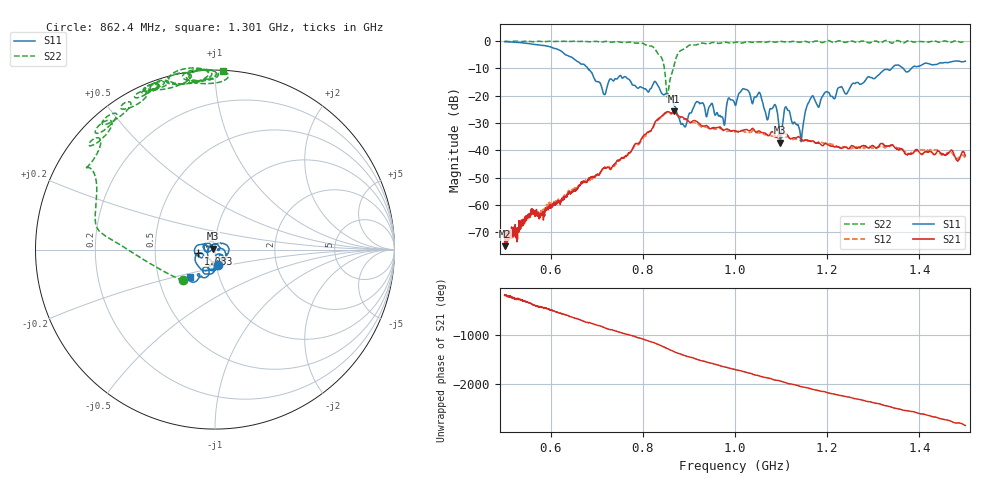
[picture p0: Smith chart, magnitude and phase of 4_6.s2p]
!Agilent Technologies,E8364B,US42250235,A.06.04.32
!Agilent E8364B: A.06.04.32
!Date: Thursday, October 01, 2020 16:09:05
!Correction: S11(Full 2 Port(1,2)) S21(Full 2 Port(1,2)) S12(Full 2 Port(1,2)) S22(Full 2 Port(1,2))
!S2P File: Measurements: S11, S21, S12, S22:
# Hz S  dB  R 50
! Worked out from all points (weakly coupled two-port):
!   2650 points, 500 MHz to 1.5 GHz, reference 50 ohm
!   highest |S21| = -25.78 dB at 866.6 MHz (marker M1); lowest = -75.1 dB at 500.8 MHz (marker M2)
!   lowest |S11| = -37.2 dB at 1.098 GHz (marker M3), VSWR 1.03, Z = 48.8 + j0.569 ohm
!   |S11| at or under -10 dB: 680.5 MHz to 1.341 GHz (660.1 MHz wide, 65.3 % of centre); 1.365 GHz to 1.383 GHz (17.78 MHz wide, 1.29 % of centre)
!   |S22| runs from -20.5 to 0.2 dB; largest |S21 - S12| = 0.0053
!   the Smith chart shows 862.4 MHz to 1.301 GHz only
!   S11 on the Smith chart (normalised r, x): 862.4 MHz: 1.01, -0.18; 1.033 GHz: 0.83, -0.04; 1.301 GHz: 0.72, -0.23
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5e8  -0.23 -175.0  -71.13 -179.6  -74.38 -151.3  -0.03 143.0
5.00755e8  -0.24 -175.4  -75.11 -165.0  -71.03 -157.0  -0.03 143.3
5.977727e8  -2.04 121.4  -60.08 -112.2  -59.08 -108.7  -0.06 129.9
6.668554e8  -8.45 73.2  -51.71 22.7  -51.70 31.5  -0.10 125.0
7.159305e8  -19.59 75.4  -46.51 -123.2  -46.44 -125.6  -0.18 112.3
8.337108e8  -16.56 -12.7  -28.36 -114.4  -28.76 -114.1  -4.79 54.9
8.533409e8  -19.44 -45.7  -25.86 161.7  -26.15 163.9  -20.54 -46.3
8.624009e8  -21.06 -80.2  -26.34 124.6  -26.71 127.0  -12.17 -135.8
8.665534e8  -22.78 -101.9  -25.78 107.5  -26.26 110.4  -9.73 -160.5
8.89581e8  -31.07 91.6  -28.31 24.2  -28.66 28.8  -2.92 157.9
9.171385e8  -22.13 2.0  -29.46 -58.3  -29.95 -53.1  -1.33 138.5
9.741412e8  -28.60 -84.1  -32.59 153.1  -32.74 156.9  -0.51 126.3
1.000189e9  -23.38 -97.9  -32.79 91.2  -33.23 94.6  -0.42 120.3
1.033409e9  -20.22 -167.4  -32.72 12.7  -33.49 11.7  -0.39 117.7
1.087014e9  -23.31 157.9  -34.68 -127.5  -35.24 -125.9  -0.41 111.4
1.098339e9  -37.17 155.1  -34.08 -145.1  -35.61 -145.4  -0.11 111.7
1.112307e9  -24.64 147.9  -34.19 172.0  -34.97 177.6  -0.39 110.8
1.143639e9  -36.81 2.9  -35.92 98.7  -36.37 100.9  -0.32 105.6
1.166667e9  -20.31 -59.9  -36.60 50.6  -36.93 48.4  -0.50 100.5
1.301057e9  -13.76 -133.0  -38.47 125.5  -39.26 111.4  -0.03 87.3
1.333522e9  -10.61 -149.3  -38.44 53.6  -38.84 39.1  -0.10 97.6
1.5e9  -7.37 140.1  -42.06 19.7  -43.13 6.5  0.09 71.2
